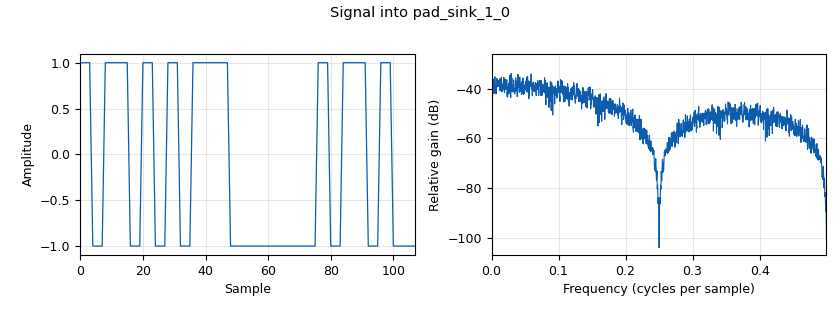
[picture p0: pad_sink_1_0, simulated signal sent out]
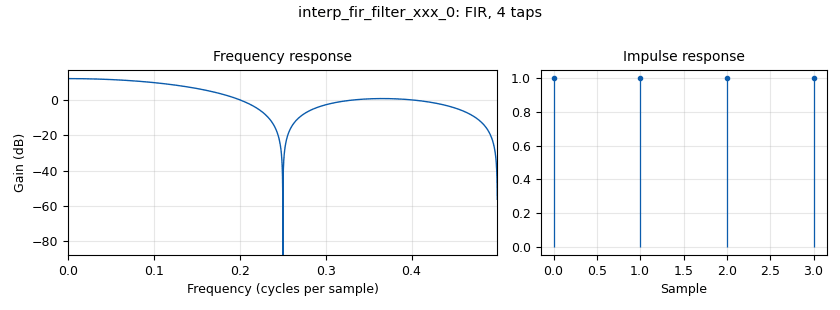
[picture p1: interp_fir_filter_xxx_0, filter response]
<?xml version='1.0' encoding='utf-8'?>
<?grc format='1' created='3.7.13'?>
<flow_graph>
<block>
<key>options</key>
<param><key>id</key><value>b_borrar</value></param>
<param><key>category</key><value>borrar</value></param>
<param><key>generate_options</key><value>hb</value></param>
<param><key>title</key><value>b_borrar</value></param>
</block>
<block>
<key>parameter</key>
<param><key>id</key><value>Sps</value></param>
<param><key>label</key><value>Sps</value></param>
<param><key>value</key><value>4</value></param>
</block>
<block>
<key>analog_random_source_x</key>
<param><key>id</key><value>analog_random_source_x_0</value></param>
<param><key>max</key><value>2</value></param>
<param><key>min</key><value>0</value></param>
<param><key>num_samps</key><value>1000000</value></param>
<param><key>type</key><value>int</value></param>
<param><key>repeat</key><value>True</value></param>
</block>
<block>
<key>blocks_add_const_vxx</key>
<param><key>id</key><value>blocks_add_const_vxx_0</value></param>
<param><key>const</key><value>-0.5</value></param>
<param><key>type</key><value>float</value></param>
</block>
<block>
<key>blocks_int_to_float</key>
<param><key>id</key><value>blocks_int_to_float_0</value></param>
<param><key>scale</key><value>1</value></param>
</block>
<block>
<key>blocks_multiply_const_vxx</key>
<param><key>id</key><value>blocks_multiply_const_vxx_0</value></param>
<param><key>const</key><value>2.</value></param>
<param><key>type</key><value>float</value></param>
</block>
<block>
<key>parameter</key>
<param><key>id</key><value>h</value></param>
<param><key>label</key><value>Rta impulso</value></param>
<param><key>value</key><value>[1,1,1,1]</value></param>
</block>
<block>
<key>import</key>
<param><key>id</key><value>import_0</value></param>
<param><key>import</key><value>import math</value></param>
</block>
<block>
<key>interp_fir_filter_xxx</key>
<param><key>id</key><value>interp_fir_filter_xxx_0</value></param>
<param><key>interp</key><value>Sps</value></param>
<param><key>taps</key><value>h</value></param>
<param><key>type</key><value>fff</value></param>
</block>
<block>
<key>pad_sink</key>
<param><key>id</key><value>pad_sink_1_0</value></param>
<param><key>type</key><value>float</value></param>
<param><key>label</key><value>out</value></param>
</block>
<connection><source_block_id>analog_random_source_x_0</source_block_id><sink_block_id>blocks_int_to_float_0</sink_block_id><source_key>0</source_key><sink_key>0</sink_key></connection>
<connection><source_block_id>blocks_add_const_vxx_0</source_block_id><sink_block_id>blocks_multiply_const_vxx_0</sink_block_id><source_key>0</source_key><sink_key>0</sink_key></connection>
<connection><source_block_id>blocks_int_to_float_0</source_block_id><sink_block_id>blocks_add_const_vxx_0</sink_block_id><source_key>0</source_key><sink_key>0</sink_key></connection>
<connection><source_block_id>blocks_multiply_const_vxx_0</source_block_id><sink_block_id>interp_fir_filter_xxx_0</sink_block_id><source_key>0</source_key><sink_key>0</sink_key></connection>
<connection><source_block_id>interp_fir_filter_xxx_0</source_block_id><sink_block_id>pad_sink_1_0</sink_block_id><source_key>0</source_key><sink_key>0</sink_key></connection>
</flow_graph>
